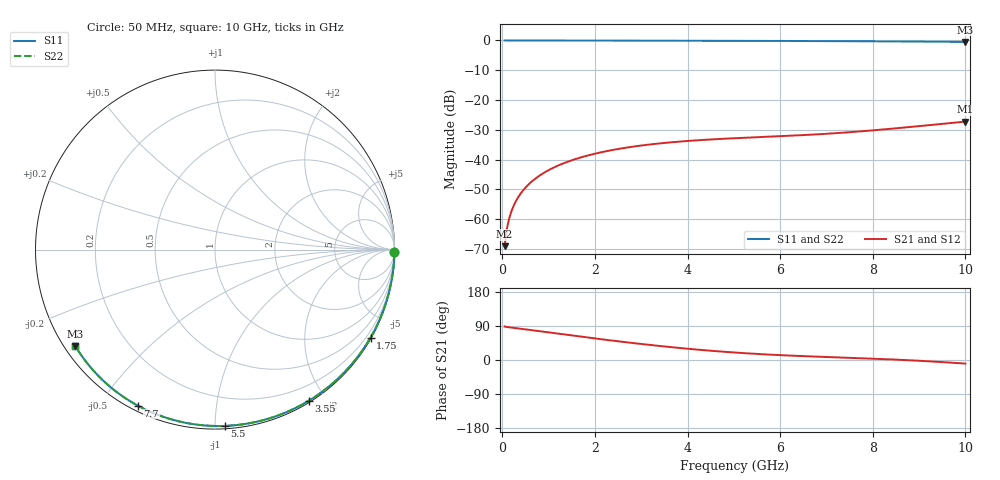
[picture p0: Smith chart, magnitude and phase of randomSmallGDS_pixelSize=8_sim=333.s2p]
! freq	dB(S11)	phase(S11)	dB(S12)	phase(S12)
!  dB(S21)	phase(S21)	dB(S22)	phase(S22)
!S-par simulation data
#  GHz  S  DB  R 50
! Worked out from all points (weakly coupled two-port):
!   200 points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, 50 MHz to 10 GHz, reference 50 ohm
!   highest |S21| = -27.25 dB at 10 GHz (marker M1); lowest = -69.1 dB at 50 MHz (marker M2)
!   lowest |S11| = -0.5 dB at 10 GHz (marker M3), VSWR 35.90, Z = 1.53 - j15.5 ohm
!   |S11| at or under -10 dB: nowhere
!   |S22| runs from -0.5 to 0.0 dB; largest |S21 - S12| = 0
!   S11 on the Smith chart (normalised r, x): 50 MHz: open; 1.75 GHz: 0.03, -3.80; 3.55 GHz: 0.02, -1.80; 5.5 GHz: 0.02, -1.06; 7.7 GHz: 0.02, -0.62; 10 GHz: 0.03, -0.31
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0.05  -0.00 -0.9  -69.06 88.3  -69.06 88.3  -0.00 -0.9
0.1  -0.00 -1.7  -63.13 87.1  -63.13 87.1  -0.00 -1.7
0.15  -0.00 -2.6  -59.69 86.2  -59.69 86.2  -0.00 -2.6
0.2  -0.00 -3.4  -57.24 85.4  -57.24 85.4  -0.00 -3.4
0.25  -0.00 -4.3  -55.34 84.7  -55.34 84.7  -0.00 -4.3
0.35  -0.00 -6.0  -52.47 83.2  -52.47 83.2  -0.00 -6.0
0.5  -0.01 -8.5  -49.41 80.9  -49.41 80.9  -0.01 -8.5
0.7  -0.01 -11.9  -46.54 77.7  -46.54 77.7  -0.01 -11.9
1  -0.02 -17.0  -43.54 72.8  -43.54 72.8  -0.02 -17.0
1.35  -0.03 -22.8  -41.07 67.1  -41.07 67.1  -0.03 -22.8
1.75  -0.04 -29.5  -39.03 60.8  -39.03 60.8  -0.04 -29.5
2.5  -0.05 -41.7  -36.44 49.3  -36.44 49.3  -0.05 -41.7
3.4  -0.08 -55.9  -34.56 37.0  -34.56 37.0  -0.08 -55.8
3.55  -0.08 -58.2  -34.33 35.1  -34.33 35.1  -0.08 -58.2
4.3  -0.10 -69.5  -33.43 26.5  -33.43 26.5  -0.10 -69.5
5.05  -0.12 -80.4  -32.80 19.4  -32.80 19.4  -0.12 -80.4
5.5  -0.14 -86.8  -32.49 16.0  -32.49 16.0  -0.14 -86.8
6.7  -0.20 -103.2  -31.60 9.3  -31.60 9.3  -0.20 -103.2
7.7  -0.26 -116.3  -30.56 5.0  -30.56 5.0  -0.26 -116.3
8.35  -0.32 -124.6  -29.71 1.9  -29.71 1.9  -0.32 -124.6
9.2  -0.40 -135.4  -28.46 -3.4  -28.46 -3.4  -0.40 -135.3
10  -0.48 -145.5  -27.25 -9.4  -27.25 -9.4  -0.48 -145.4
